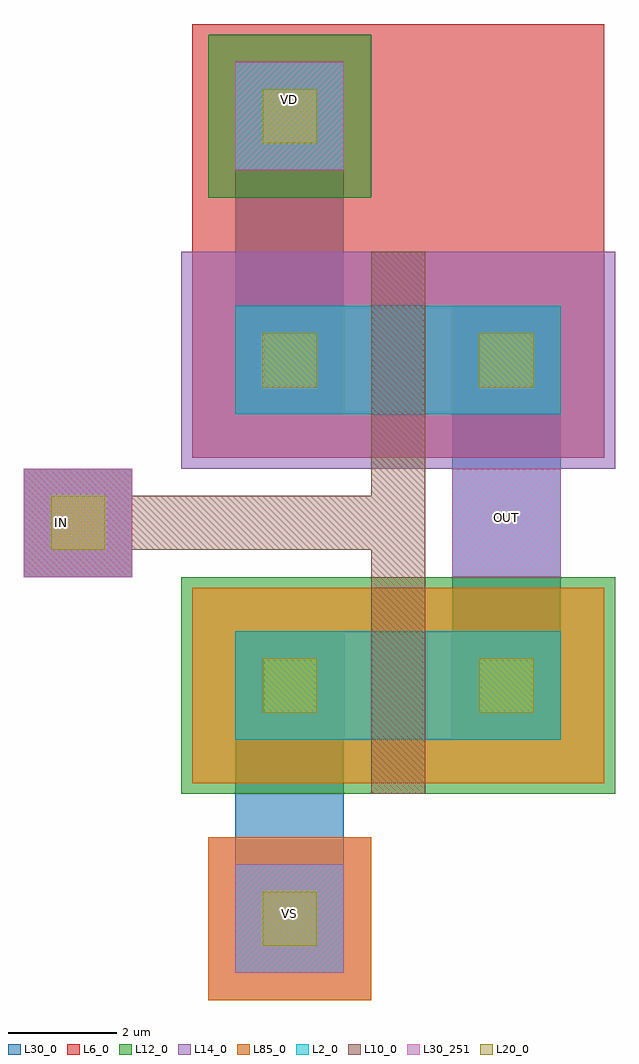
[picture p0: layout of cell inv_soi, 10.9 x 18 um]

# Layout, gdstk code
import gdstk
lib = gdstk.Library(unit=1e-6, precision=5e-10)
def R(c, l, rs):  # rectangles x0, y0, x1, y1
    for r in rs: c.add(gdstk.rectangle(r[:2], r[2:], *l))
L2_0 = (2, 0)
L6_0 = (6, 0)
L10_0 = (10, 0)
L12_0 = (12, 0)
L14_0 = (14, 0)
L20_0 = (20, 0)
L30_0 = (30, 0)
L30_251 = (30, 251)
L85_0 = (85, 0)

nmos4_cdns_4 = lib.new_cell('nmos4_CDNS_4')
R(nmos4_cdns_4, L2_0, [(1,1,7,3)])
R(nmos4_cdns_4, L10_0, [(3.5,0,4.5,4), (3.6,3.4,4.4,3.9)])
R(nmos4_cdns_4, L12_0, [(0,0,8,4)])
R(nmos4_cdns_4, L20_0, [(1.5,1.5,2.5,2.5), (5.5,1.5,6.5,2.5)])
R(nmos4_cdns_4, L30_0, [(1,1,3,3), (5,1,7,3), (1.3,1.3,2.7,2.7), (5.3,1.3,6.7,2.7)])
R(nmos4_cdns_4, L85_0, [(0.2,0.2,7.8,3.8)])

pmos4_cdns_5 = lib.new_cell('pmos4_CDNS_5')
R(pmos4_cdns_5, L2_0, [(1,1,7,3)])
R(pmos4_cdns_5, L6_0, [(0.2,0.2,7.8,3.8)])
R(pmos4_cdns_5, L10_0, [(3.5,0,4.5,4), (3.6,3.5,4.4,3.9)])
R(pmos4_cdns_5, L14_0, [(0,0,8,4)])
R(pmos4_cdns_5, L20_0, [(1.5,1.5,2.5,2.5), (5.5,1.5,6.5,2.5)])
R(pmos4_cdns_5, L30_0, [(1,1,3,3), (5,1,7,3), (1.3,1.3,2.7,2.7), (5.3,1.3,6.7,2.7)])

m1_po_cdns_1 = lib.new_cell('M1_PO_CDNS_1')
R(m1_po_cdns_1, L10_0, [(-1,-1,1,1)])
R(m1_po_cdns_1, L20_0, [(-0.5,-0.5,0.5,0.5)])
R(m1_po_cdns_1, L30_0, [(-1,-1,1,1)])

m1_psub_cdns_2 = lib.new_cell('M1_PSUB_CDNS_2')
R(m1_psub_cdns_2, L2_0, [(-1,-1,1,1)])
R(m1_psub_cdns_2, L14_0, [(-1.5,-1.5,1.5,1.5)])
R(m1_psub_cdns_2, L20_0, [(-0.5,-0.5,0.5,0.5)])
R(m1_psub_cdns_2, L30_0, [(-1,-1,1,1)])
R(m1_psub_cdns_2, L85_0, [(-1.5,-1.5,1.5,1.5)])

m1_nwell_cdns_3 = lib.new_cell('M1_NWELL_CDNS_3')
R(m1_nwell_cdns_3, L2_0, [(-1,-1,1,1)])
R(m1_nwell_cdns_3, L6_0, [(-1.5,-1.5,1.5,1.5)])
R(m1_nwell_cdns_3, L12_0, [(-1.5,-1.5,1.5,1.5)])
R(m1_nwell_cdns_3, L20_0, [(-0.5,-0.5,0.5,0.5)])
R(m1_nwell_cdns_3, L30_0, [(-1,-1,1,1)])

inv_soi = lib.new_cell('inv_soi')
R(inv_soi, L6_0, [(4.1,13.6,11.7,18)])
R(inv_soi, L10_0, [(7.4,7.1,8.4,13.8), (7.4,7.6,8.4,10)])
R(inv_soi, L30_0, [(4.9,0.5,6.9,6.8), (8.9,4.8,10.9,12.8), (1,7.8,3,9.8), (4.9,10.8,6.9,17.3)])
R(inv_soi, L30_251, [(4.9,0.5,6.9,2.5), (1,7.8,3,9.8), (8.9,7.8,10.9,9.8), (4.9,15.3,6.9,17.3)])
inv_soi.add(gdstk.FlexPath([(7.9,8.8),(2.2,8.8)], 1, ends="flush", simple_path=True, layer=10, datatype=0))  # L10_0
inv_soi.add(gdstk.Reference(nmos4_cdns_4, (3.9,3.8)))
inv_soi.add(gdstk.Reference(pmos4_cdns_5, (3.9,9.8)))
inv_soi.add(gdstk.Reference(m1_po_cdns_1, (2,8.8)))
inv_soi.add(gdstk.Reference(m1_psub_cdns_2, (5.9,1.5)))
inv_soi.add(gdstk.Reference(m1_nwell_cdns_3, (5.9,16.3)))
inv_soi.add(gdstk.Label('IN', (1.7,8.8), layer=30, texttype=237))
inv_soi.add(gdstk.Label('VS', (5.9,1.6), layer=30, texttype=237))
inv_soi.add(gdstk.Label('OUT', (9.9,8.9), layer=30, texttype=237))
inv_soi.add(gdstk.Label('VD', (5.9,16.6), layer=30, texttype=237))

lib.write_gds('inv_soi.gds')
